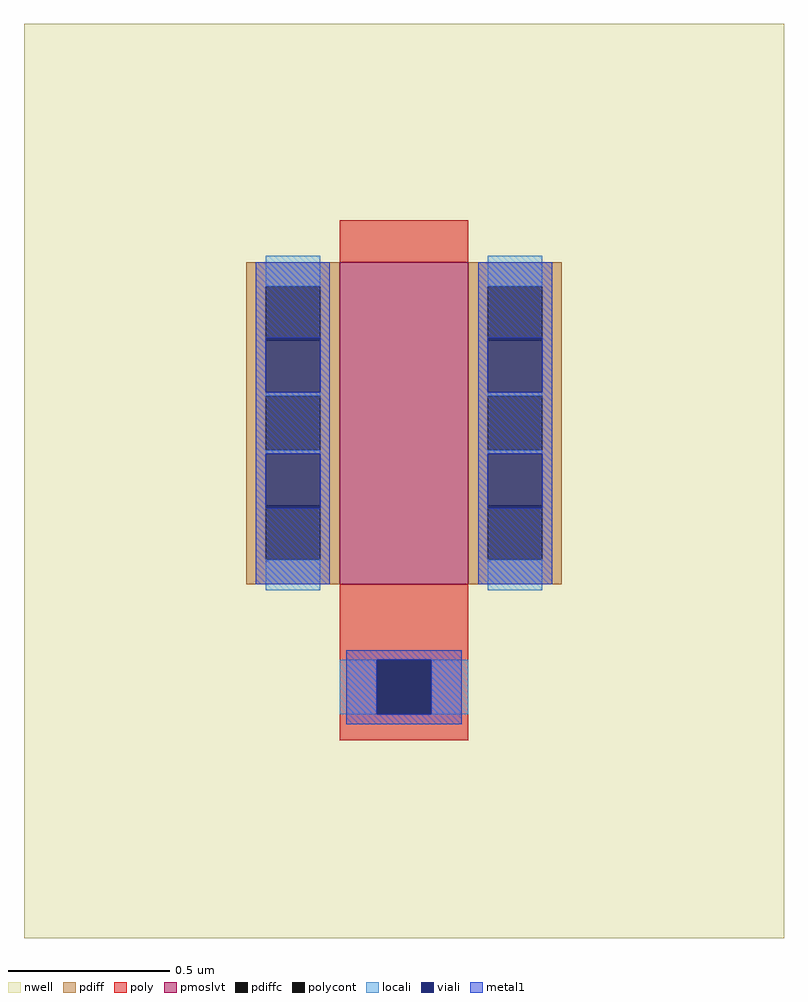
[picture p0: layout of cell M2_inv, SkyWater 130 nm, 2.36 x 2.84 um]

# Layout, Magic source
magic
tech sky130B
magscale 1 2
<< nwell >>
rect -236 -324 236 244
<< pmoslvt >>
rect -40 -104 40 96
<< pdiff >>
rect -98 81 -40 96
rect -98 47 -86 81
rect -52 47 -40 81
rect -98 13 -40 47
rect -98 -21 -86 13
rect -52 -21 -40 13
rect -98 -55 -40 -21
rect -98 -89 -86 -55
rect -52 -89 -40 -55
rect -98 -104 -40 -89
rect 40 81 98 96
rect 40 47 52 81
rect 86 47 98 81
rect 40 13 98 47
rect 40 -21 52 13
rect 86 -21 98 13
rect 40 -55 98 -21
rect 40 -89 52 -55
rect 86 -89 98 -55
rect 40 -104 98 -89
<< pdiffc >>
rect -86 47 -52 81
rect -86 -21 -52 13
rect -86 -89 -52 -55
rect 52 47 86 81
rect 52 -21 86 13
rect 52 -89 86 -55
<< poly >>
rect -40 96 40 122
rect -40 -151 40 -104
rect -40 -185 -17 -151
rect 17 -185 40 -151
rect -40 -201 40 -185
<< polycont >>
rect -17 -185 17 -151
<< locali >>
rect -86 81 -52 100
rect -86 13 -52 15
rect -86 -23 -52 -21
rect -86 -108 -52 -89
rect 52 81 86 100
rect 52 13 86 15
rect 52 -23 86 -21
rect 52 -108 86 -89
rect -40 -185 -17 -151
rect 17 -185 40 -151
<< viali >>
rect -86 47 -52 49
rect -86 15 -52 47
rect -86 -55 -52 -23
rect -86 -57 -52 -55
rect 52 47 86 49
rect 52 15 86 47
rect 52 -55 86 -23
rect 52 -57 86 -55
rect -17 -185 17 -151
<< metal1 >>
rect -92 49 -46 96
rect -92 15 -86 49
rect -52 15 -46 49
rect -92 -23 -46 15
rect -92 -57 -86 -23
rect -52 -57 -46 -23
rect -92 -104 -46 -57
rect 46 49 92 96
rect 46 15 52 49
rect 86 15 92 49
rect 46 -23 92 15
rect 46 -57 52 -23
rect 86 -57 92 -23
rect 46 -104 92 -57
rect -36 -151 36 -145
rect -36 -185 -17 -151
rect 17 -185 36 -151
rect -36 -191 36 -185
<< end >>
